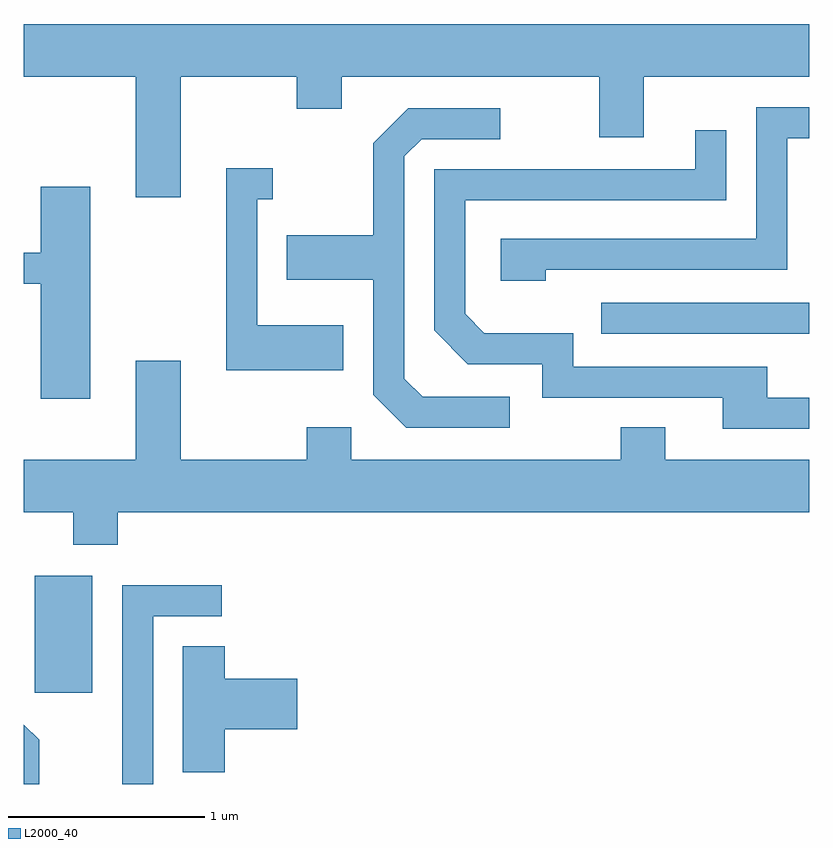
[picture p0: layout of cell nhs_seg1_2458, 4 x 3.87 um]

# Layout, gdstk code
import gdstk
lib = gdstk.Library(unit=1e-6, precision=1e-09)
def R(c, l, rs):  # rectangles x0, y0, x1, y1
    for r in rs: c.add(gdstk.rectangle(r[:2], r[2:], *l))
def P(c, l, *ps):  # polygons
    for p in ps: c.add(gdstk.Polygon(p, *l))
L2000_40 = (2000, 40)

nhs_seg1_2458 = lib.new_cell('nhs_seg1_2458')
R(nhs_seg1_2458, L2000_40, [(259.666,934.176,259.959,934.774), (262.553,936.006,263.611,936.164)])
P(nhs_seg1_2458, L2000_40, [(260.409,937.316),(261.001,937.316),(261.001,937.151),(261.229,937.151),(261.229,937.316),(262.541,937.316),(262.541,937.006),(262.769,937.006),(262.769,937.316),(263.611,937.316),(263.611,937.584),(259.611,937.584),(259.611,937.316),(260.181,937.316),(260.181,936.701),(260.409,936.701)],
  [(262.269,936.331),(263.499,936.331),(263.499,937.001),(263.611,937.001),(263.611,937.159),(263.341,937.159),(263.341,936.489),(262.041,936.489),(262.041,936.276),(262.269,936.276)],
  [(262.087,935.684),(261.642,935.684),(261.549,935.777),(261.549,936.909),(261.637,936.996),(262.038,936.996),(262.038,937.154),(261.569,937.154),(261.391,936.977),(261.391,936.509),(260.951,936.509),(260.951,936.281),(261.391,936.281),(261.391,935.694),(261.558,935.526),(262.087,935.526)],
  [(263.611,935.679),(263.399,935.679),(263.399,935.839),(262.409,935.839),(262.409,936.009),(261.957,936.009),(261.859,936.107),(261.859,936.686),(263.189,936.686),(263.189,937.043),(263.031,937.043),(263.031,936.844),(261.701,936.844),(261.701,936.024),(261.873,935.851),(262.251,935.851),(262.251,935.681),(263.171,935.681),(263.171,935.521),(263.611,935.521)],
  [(261.239,936.049),(260.799,936.049),(260.799,936.691),(260.878,936.691),(260.878,936.849),(260.641,936.849),(260.641,935.821),(261.239,935.821)],
  [(259.949,936.754),(259.696,936.754),(259.696,936.419),(259.611,936.419),(259.611,936.261),(259.696,936.261),(259.696,935.676),(259.949,935.676)],
  [(260.089,935.096),(263.611,935.096),(263.611,935.364),(262.879,935.364),(262.879,935.529),(262.651,935.529),(262.651,935.364),(261.279,935.364),(261.279,935.529),(261.051,935.529),(261.051,935.364),(260.409,935.364),(260.409,935.869),(260.181,935.869),(260.181,935.364),(259.611,935.364),(259.611,935.096),(259.861,935.096),(259.861,934.931),(260.089,934.931)],
  [(260.269,934.566),(260.618,934.566),(260.618,934.724),(260.111,934.724),(260.111,933.712),(260.269,933.712)],
  [(260.634,933.991),(261.004,933.991),(261.004,934.249),(260.634,934.249),(260.634,934.414),(260.421,934.414),(260.421,933.771),(260.634,933.771)],
  [(259.689,933.937),(259.611,934.015),(259.611,933.712),(259.689,933.712)])

lib.write_gds('nhs_seg1_2458.gds')
